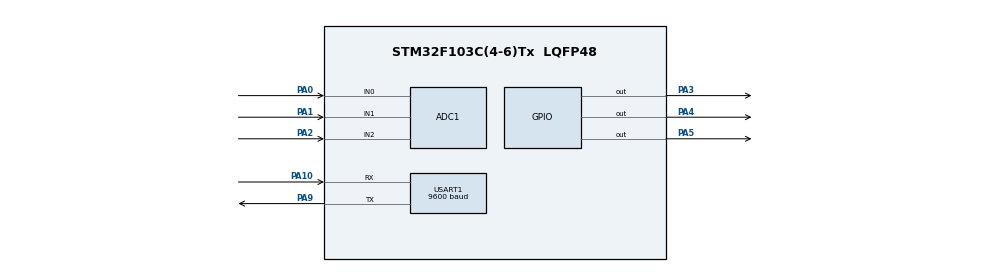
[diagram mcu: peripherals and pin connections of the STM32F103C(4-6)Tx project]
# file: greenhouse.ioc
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ADC1.Channel-0\#ChannelRegularConversion=ADC_CHANNEL_0
ADC1.Channel-3\#ChannelRegularConversion=ADC_CHANNEL_1
ADC1.Channel-4\#ChannelRegularConversion=ADC_CHANNEL_2
ADC1.ContinuousConvMode=ENABLE
ADC1.NbrOfConversion=3
ADC1.NbrOfConversionFlag=1
ADC1.Rank-0\#ChannelRegularConversion=1
ADC1.Rank-3\#ChannelRegularConversion=2
ADC1.Rank-4\#ChannelRegularConversion=3
ADC1.SamplingTime-0\#ChannelRegularConversion=ADC_SAMPLETIME_239CYCLES_5
ADC1.SamplingTime-3\#ChannelRegularConversion=ADC_SAMPLETIME_239CYCLES_5
ADC1.SamplingTime-4\#ChannelRegularConversion=ADC_SAMPLETIME_239CYCLES_5
ADC1.master=1
Mcu.Family=STM32F1
Mcu.Name=STM32F103C(4-6)Tx
Mcu.Package=LQFP48
NVIC.PriorityGroup=NVIC_PRIORITYGROUP_4
PA0-WKUP.Signal=ADCx_IN0
PA1.Signal=ADCx_IN1
PA10.Mode=Asynchronous
PA10.Signal=USART1_RX
PA2.Signal=ADCx_IN2
PA3.Signal=GPIO_Output
PA4.Signal=GPIO_Output
PA5.Signal=GPIO_Output
PA9.Mode=Asynchronous
PA9.Signal=USART1_TX
ProjectManager.HeapSize=0x200
ProjectManager.StackSize=0x400
ProjectManager.TargetToolchain=STM32CubeIDE
RCC.APB1Freq_Value=8000000
RCC.APB2Freq_Value=8000000
SH.ADCx_IN0.0=ADC1_IN0,IN0
SH.ADCx_IN1.0=ADC1_IN1,IN1
SH.ADCx_IN2.0=ADC1_IN2,IN2
USART1.BaudRate=9600
USART1.VirtualMode=VM_ASYNC
board=custom

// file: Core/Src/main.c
/* USER CODE BEGIN Header */
/**
  ******************************************************************************
  * @file           : main.c
  * @brief          : Main program body
  ******************************************************************************
  * @attention
  *
  * Copyright (c) 2024 STMicroelectronics.
  * All rights reserved.
  *
  * This software is licensed under terms that can be found in the LICENSE file
  * in the root directory of this software component.
  * If no LICENSE file comes with this software, it is provided AS-IS.
  *
  ******************************************************************************
  */
/* USER CODE END Header */
#include "main.h"
#include "stdio.h"
#include "string.h"

ADC_HandleTypeDef hadc1;

UART_HandleTypeDef huart1;

void SystemClock_Config(void);
static void MX_GPIO_Init(void);
static void MX_USART1_UART_Init(void);
static void MX_ADC1_Init(void);

unsigned char string[]=" Hi Embedded ICON ";
unsigned char string1[20];
int main(void)
{

  /* MCU Configuration--------------------------------------------------------*/

  /* Reset of all peripherals, Initializes the Flash interface and the Systick. */
  HAL_Init();

  /* Configure the system clock */
  SystemClock_Config();

  /* Initialize all configured peripherals */
  MX_GPIO_Init();
  MX_USART1_UART_Init();
  MX_ADC1_Init();
  /* USER CODE BEGIN 2 */
  HAL_GPIO_WritePin(GPIOA, GPIO_PIN_3, GPIO_PIN_SET);
  HAL_GPIO_WritePin(GPIOA, GPIO_PIN_4, GPIO_PIN_SET);
  HAL_GPIO_WritePin(GPIOA, GPIO_PIN_5, GPIO_PIN_SET);
  HAL_UART_Transmit(&huart1, string, 20, 0x500);
  /* USER CODE END 2 */
  uint32_t adcResult1,adcResult2,adcResult3;

  float mv,mv2,mv3;
  /* Infinite loop */
  /* USER CODE BEGIN WHILE */
  while (1)
  {
	  HAL_ADC_Start(&hadc1);
	  HAL_ADC_PollForConversion(&hadc1, 100);
	  adcResult1 = HAL_ADC_GetValue(&hadc1);
	  mv = ((float)adcResult1) * 10.0 / 4095.0;

	  HAL_ADC_PollForConversion(&hadc1, 100);
	  adcResult2 = HAL_ADC_GetValue(&hadc1);
	  mv2 = ((float)adcResult2) * 10.0 / 4095.0;

	  HAL_ADC_PollForConversion(&hadc1, 100);
	  adcResult3 = HAL_ADC_GetValue(&hadc1);
	  mv3 = ((float)adcResult3) * 10.0 / 4095.0;
	  HAL_ADC_Stop(&hadc1);

    /* USER CODE END WHILE */
	  HAL_UART_Receive(&huart1, string1, 1, 0x5000);
	  HAL_UART_Transmit(&huart1, string1, 5, 0x500);

	  //Bolst biljke
	  if(strcmp((char *)string1,"F")== 0){
		  HAL_GPIO_WritePin(GPIOA, GPIO_PIN_3, GPIO_PIN_SET);
	  }
	  else{
		  HAL_GPIO_WritePin(GPIOA, GPIO_PIN_3, GPIO_PIN_RESET);
	  }

	  //Otvaranje vrata
	  if(mv > 9.0 || mv2 < 5.0){
		  HAL_GPIO_WritePin(GPIOA, GPIO_PIN_5, GPIO_PIN_SET);
	  }
	  else{
		  HAL_GPIO_WritePin(GPIOA, GPIO_PIN_5, GPIO_PIN_RESET);
	  }

	  //Navodnjavanje
	  if(mv3 > 2.0){
		  HAL_GPIO_WritePin(GPIOA, GPIO_PIN_4, GPIO_PIN_SET);
	  }
	  else{
		  HAL_GPIO_WritePin(GPIOA, GPIO_PIN_4, GPIO_PIN_RESET);
	  }

  }
}
void SystemClock_Config(void)
{
  RCC_OscInitTypeDef RCC_OscInitStruct = {0};
  RCC_ClkInitTypeDef RCC_ClkInitStruct = {0};
  RCC_PeriphCLKInitTypeDef PeriphClkInit = {0};

  /** Initializes the RCC Oscillators according to the specified parameters
  * in the RCC_OscInitTypeDef structure.
  */
  RCC_OscInitStruct.OscillatorType = RCC_OSCILLATORTYPE_HSI;
  RCC_OscInitStruct.HSIState = RCC_HSI_ON;
  RCC_OscInitStruct.HSICalibrationValue = RCC_HSICALIBRATION_DEFAULT;
  RCC_OscInitStruct.PLL.PLLState = RCC_PLL_NONE;
  if (HAL_RCC_OscConfig(&RCC_OscInitStruct) != HAL_OK)
  {
    Error_Handler();
  }

  /** Initializes the CPU, AHB and APB buses clocks
  */
  RCC_ClkInitStruct.ClockType = RCC_CLOCKTYPE_HCLK|RCC_CLOCKTYPE_SYSCLK
                              |RCC_CLOCKTYPE_PCLK1|RCC_CLOCKTYPE_PCLK2;
  RCC_ClkInitStruct.SYSCLKSource = RCC_SYSCLKSOURCE_HSI;
  RCC_ClkInitStruct.AHBCLKDivider = RCC_SYSCLK_DIV1;
  RCC_ClkInitStruct.APB1CLKDivider = RCC_HCLK_DIV1;
  RCC_ClkInitStruct.APB2CLKDivider = RCC_HCLK_DIV1;

  if (HAL_RCC_ClockConfig(&RCC_ClkInitStruct, FLASH_LATENCY_0) != HAL_OK)
  {
    Error_Handler();
  }
  PeriphClkInit.PeriphClockSelection = RCC_PERIPHCLK_ADC;
  PeriphClkInit.AdcClockSelection = RCC_ADCPCLK2_DIV2;
  if (HAL_RCCEx_PeriphCLKConfig(&PeriphClkInit) != HAL_OK)
  {
    Error_Handler();
  }
}

static void MX_ADC1_Init(void)
{

  ADC_ChannelConfTypeDef sConfig = {0};

  /** Common config
  */
  hadc1.Instance = ADC1;
  hadc1.Init.ScanConvMode = ADC_SCAN_ENABLE;
  hadc1.Init.ContinuousConvMode = ENABLE;
  hadc1.Init.DiscontinuousConvMode = DISABLE;
  hadc1.Init.ExternalTrigConv = ADC_SOFTWARE_START;
  hadc1.Init.DataAlign = ADC_DATAALIGN_RIGHT;
  hadc1.Init.NbrOfConversion = 3;
  if (HAL_ADC_Init(&hadc1) != HAL_OK)
  {
    Error_Handler();
  }

  /** Configure Regular Channel
  */
  sConfig.Channel = ADC_CHANNEL_0;
  sConfig.Rank = ADC_REGULAR_RANK_1;
  sConfig.SamplingTime = ADC_SAMPLETIME_239CYCLES_5;
  if (HAL_ADC_ConfigChannel(&hadc1, &sConfig) != HAL_OK)
  {
    Error_Handler();
  }

  /** Configure Regular Channel
  */
  sConfig.Channel = ADC_CHANNEL_1;
  sConfig.Rank = ADC_REGULAR_RANK_2;
  if (HAL_ADC_ConfigChannel(&hadc1, &sConfig) != HAL_OK)
  {
    Error_Handler();
  }

  /** Configure Regular Channel
  */
  sConfig.Channel = ADC_CHANNEL_2;
  sConfig.Rank = ADC_REGULAR_RANK_3;
  if (HAL_ADC_ConfigChannel(&hadc1, &sConfig) != HAL_OK)
  {
    Error_Handler();
  }

}

static void MX_USART1_UART_Init(void)
{

  huart1.Instance = USART1;
  huart1.Init.BaudRate = 9600;
  huart1.Init.WordLength = UART_WORDLENGTH_8B;
  huart1.Init.StopBits = UART_STOPBITS_1;
  huart1.Init.Parity = UART_PARITY_NONE;
  huart1.Init.Mode = UART_MODE_TX_RX;
  huart1.Init.HwFlowCtl = UART_HWCONTROL_NONE;
  huart1.Init.OverSampling = UART_OVERSAMPLING_16;
  if (HAL_UART_Init(&huart1) != HAL_OK)
  {
    Error_Handler();
  }

}

static void MX_GPIO_Init(void)
{
  GPIO_InitTypeDef GPIO_InitStruct = {0};

  /* GPIO Ports Clock Enable */
  __HAL_RCC_GPIOA_CLK_ENABLE();

  /*Configure GPIO pin Output Level */
  HAL_GPIO_WritePin(GPIOA, GPIO_PIN_3|GPIO_PIN_4|GPIO_PIN_5, GPIO_PIN_RESET);

  /*Configure GPIO pins : PA3 PA4 PA5 */
  GPIO_InitStruct.Pin = GPIO_PIN_3|GPIO_PIN_4|GPIO_PIN_5;
  GPIO_InitStruct.Mode = GPIO_MODE_OUTPUT_PP;
  GPIO_InitStruct.Pull = GPIO_NOPULL;
  GPIO_InitStruct.Speed = GPIO_SPEED_FREQ_LOW;
  HAL_GPIO_Init(GPIOA, &GPIO_InitStruct);

}

void Error_Handler(void)
{
  __disable_irq();
  while (1)
  {
  }
}
